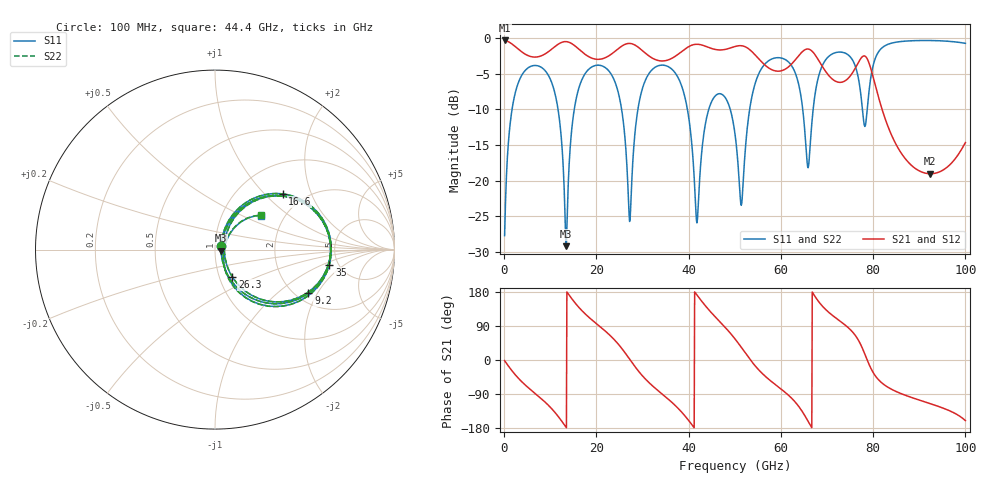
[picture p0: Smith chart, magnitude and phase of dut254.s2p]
! Touchstone file exported from HFSS 2026.1.0
!  File:  C:/ffzhzh/LocalFiles/Ansys_Project_Files/temp_train_TSV_RDL_254_1783671819_26216.aedt
!  Generated:  04:44:06 PM Jul 10, 2026
!  Design:  TSV_RDL
!  Project:  temp_train_TSV_RDL_254_1783671819_26216
! Variables:
!  h_bsmrdl = 2.31um
!  h_ox = 20um
!  h_rdl = 5um
!  h_sub = 56.61um
!  h_tmrdl = 3.76um
!  h_tsv = 56.61um
!  h_via = 3um
!  l_bsmrdl = 547.78um
!  l_sub = 4531.98um
!  l_tmrdl = 601.43um
!  m_sub = 200um
!  pitch = 51.69um
!  r_tsv = 13.23um
!  s_tmrdl = 10um
!  w_bsmrdl = 11.67um
!  w_sub = 500um
!  w_tmrdl = 15.97um
!  x_tsv_center1 = 609.415um
!  x_tsv_center2 = 1168.865um
!  x_tsv_center3 = 1786.265um
!  x_tsv_center4 = 2345.715um
!  x_tsv_center5 = 2963.115um
!  x_tsv_center6 = 3522.565um
# GHz S MA R 50.000000
! Terminal data exported
! Port[1] = TM_RDL1_1_T1
! Port[2] = TM_RDL5_1_T1
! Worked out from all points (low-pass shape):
!   1000 points, 100 MHz to 100 GHz, reference 50 ohm
!   highest |S21| = -0.31 dB at 100 MHz (marker M1); lowest = -19.0 dB at 92.4 GHz (marker M2)
!   |S21| within 3 dB of the highest: start of sweep to 55.81 GHz; 62.76 GHz to 68.37 GHz (5.619 GHz wide, 8.57 % of centre) (the widest 2 of 3)
!   lowest |S11| = -29.2 dB at 13.4 GHz (marker M3), VSWR 1.07, Z = 53.5 - j0.622 ohm
!   |S11| at or under -10 dB: 11.68 GHz to 15.2 GHz (3.515 GHz wide, 26.1 % of centre); 39.73 GHz to 44.36 GHz (4.624 GHz wide, 11 % of centre); 49.02 GHz to 53.22 GHz (4.207 GHz wide, 8.23 % of centre) (the widest 3 of 7)
!   |S22| runs from -29.3 to -0.3 dB; largest |S21 - S12| = 1.5e-13
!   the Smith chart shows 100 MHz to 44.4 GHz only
!   S11 on the Smith chart (normalised r, x): 100 MHz: 1.07, +0.04; 9.2 GHz: 2.32, -1.68; 16.6 GHz: 1.57, +1.28; 26.3 GHz: 1.15, -0.36; 35 GHz: 4.23, -1.21; 44.4 GHz: 1.53, +0.65
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0.1  0.04108 28.8  0.9644 -1.8  0.9644 -1.8  0.04108 28.8
! Gamma 0 0 0 0
! Port Impedance 50 0 50 0
2.7  0.4475 42.3  0.8577 -43.0  0.8577 -43.0  0.4475 42.3
9.2  0.5745 -25.0  0.7877 -114.8  0.7877 -114.8  0.5745 -25.0
13.4  0.0346 -9.7  0.9465 -177.0  0.9465 -177.0  0.03447 -9.7
16.6  0.488 39.5  0.816 133.5  0.816 133.5  0.488 39.5
16.8  0.5064 37.2  0.8057 130.9  0.8057 130.9  0.5064 37.2
26.3  0.181 -57.7  0.9082 17.6  0.9082 17.6  0.1813 -57.4
27.3  0.05329 15.0  0.9189 0.6  0.9189 0.6  0.05439 14.7
33.4  0.6403 7.3  0.6974 -81.2  0.6974 -81.2  0.6404 7.2
35  0.6423 -7.5  0.6958 -97.4  0.6958 -97.4  0.6424 -7.6
41.8  0.05045 -6.2  0.9068 171.5  0.9068 171.5  0.04836 -6.2
44.4  0.3197 36.4  0.8598 132.0  0.8598 132.0  0.3194 36.7
50.1  0.2063 -20.9  0.8757 54.9  0.8757 54.9  0.2067 -20.4
51.5  0.06881 42.0  0.8852 32.0  0.8852 32.0  0.07052 41.9
57.5  0.7 35.0  0.6138 -52.3  0.6138 -52.3  0.7002 34.9
63.7  0.497 -20.6  0.7429 -119.9  0.7429 -119.9  0.4969 -20.7
66.7  0.2516 61.9  0.8141 -178.6  0.8141 -178.6  0.2508 62.1
73.1  0.7984 10.2  0.4903 100.1  0.4903 100.1  0.7983 10.3
78.3  0.2429 17.6  0.7461 12.4  0.7461 12.4  0.2439 17.6
83.4  0.9109 10.9  0.2316 -73.3  0.2316 -73.3  0.911 10.9
92.4  0.9634 -27.5  0.1116 -115.2  0.1116 -115.2  0.9634 -27.5
100  0.9204 -65.8  0.1849 -160.0  0.1849 -160.0  0.9206 -65.8
